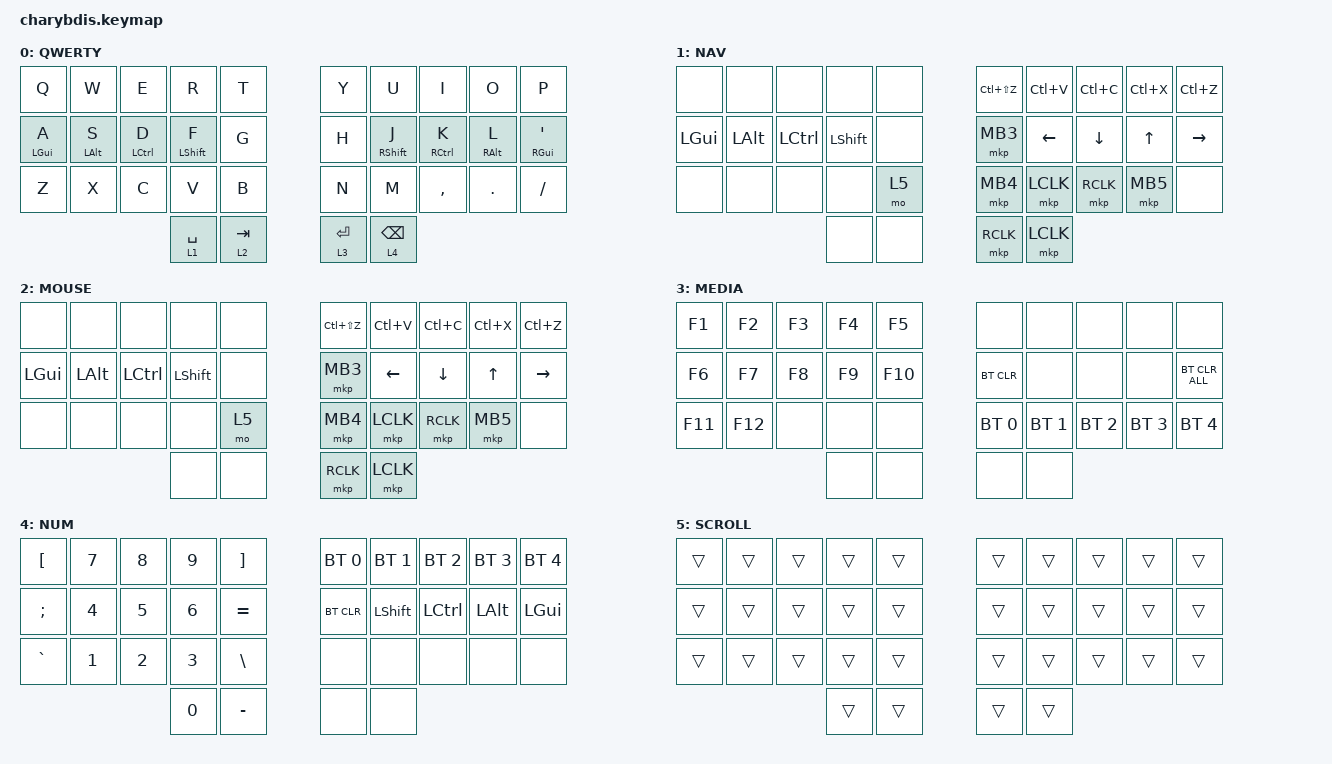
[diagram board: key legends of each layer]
#include <behaviors.dtsi>
#include <dt-bindings/zmk/bt.h>
#include <dt-bindings/zmk/keys.h>
#include <dt-bindings/zmk/mouse.h>
#include <dt-bindings/zmk/outputs.h>

&lt {
    tapping-term-ms = <200>;
    flavor = "tap-preferred";
    quick-tap-ms = <150>;
    require-prior-idle-ms = <50>;
};

&mt {
    tapping-term-ms = <200>;
    flavor = "tap-preferred";
    require-prior-idle-ms = <0>;
};

/ {
    chosen { zmk,matrix_transform = &five_column_transform; };
};

/ {
    combos {
        compatible = "zmk,combos";

        CapsWord {
            bindings = <&caps_word>;
            key-positions = <14 15>;
        };

        SpaceTabEsc {
            bindings = <&kp ESCAPE>;
            key-positions = <32 33>;    // SPACE and TAB keys
            layers = <0>;
        };
    };

    behaviors {
        Shift_Enter: Shift_Enter {
            compatible = "zmk,behavior-hold-tap";
            label = "SHIFT_ENTER";
            bindings = <&kp>, <&kp>;

            #binding-cells = <2>;
            hold-trigger-key-positions = <34>;
            tapping-term-ms = <100>;
        };
    };

    keymap {
        compatible = "zmk,keymap";

     QWERTY {
            bindings = <
  &kp Q           &kp W           &kp E               &kp R             &kp T        &kp Y        &kp U             &kp I               &kp O           &kp P
  &mt LEFT_GUI A  &mt LEFT_ALT S  &mt LEFT_CONTROL D  &mt LEFT_SHIFT F  &kp G        &kp H        &mt RIGHT_SHIFT J  &mt RIGHT_CONTROL K  &mt RIGHT_ALT L  &mt RIGHT_GUI SQT
  &kp Z           &kp X           &kp C               &kp V             &kp B        &kp N        &kp M             &kp COMMA           &kp DOT         &kp SLASH
                                                      &lt 1 SPACE       &lt 2 TAB    &lt 3 ENTER  &lt 4 BACKSPACE
            >;
        };

        NAV {
            bindings = <
  &none         &none         &none             &none           &none    &kp LC(LS(Z))  &kp LC(V)      &kp LC(C)      &kp LC(X)    &kp LC(Z)
  &kp LEFT_GUI  &kp LEFT_ALT  &kp LEFT_CONTROL  &kp LEFT_SHIFT  &none    &mkp MB3       &kp LEFT        &kp DOWN       &kp UP       &kp RIGHT
  &none         &none         &none             &none           &mo 5    &mkp MB4       &mkp LCLK       &mkp RCLK       &mkp MB5      &none
                                                &none           &none    &mkp RCLK      &mkp LCLK
            >;
        };

        MOUSE {
            bindings = <
  &none         &none         &none             &none           &none    &kp LC(LS(Z))  &kp LC(V)       &kp LC(C)       &kp LC(X)     &kp LC(Z)
  &kp LEFT_GUI  &kp LEFT_ALT  &kp LEFT_CONTROL  &kp LEFT_SHIFT  &none    &mkp MB3       &kp LEFT_ARROW  &kp DOWN_ARROW  &kp UP_ARROW  &kp RIGHT_ARROW
  &none         &none         &none             &none           &mo 5    &mkp MB4       &mkp LCLK       &mkp RCLK       &mkp MB5      &none
                                                &none           &none    &mkp RCLK      &mkp LCLK
            >;
        };

        MEDIA {
            bindings = <
  &kp F1        &kp F2        &kp F3            &kp F4          &kp F5   &none         &none         &none         &none         &none
  &kp F6        &kp F7        &kp F8            &kp F9          &kp F10  &bt BT_CLR    &none         &none         &none         &bt BT_CLR_ALL
  &kp F11       &kp F12       &none             &none           &none    &bt BT_SEL 0  &bt BT_SEL 1  &bt BT_SEL 2  &bt BT_SEL 3  &bt BT_SEL 4
                                                &none           &none    &none         &none
            >;
        };

        NUM {
            bindings = <
  &kp LEFT_BRACKET  &kp N7        &kp N8        &kp N9        &kp RIGHT_BRACKET    &bt BT_SEL 0  &bt BT_SEL 1  &bt BT_SEL 2  &bt BT_SEL 3  &bt BT_SEL 4
  &kp SEMICOLON     &kp NUMBER_4  &kp N5        &kp NUMBER_6  &kp EQUAL            &bt BT_CLR  &kp LEFT_SHIFT  &kp LEFT_CONTROL  &kp LEFT_ALT  &kp LEFT_GUI
  &kp GRAVE         &kp NUMBER_1  &kp NUMBER_2  &kp NUMBER_3  &kp BACKSLASH        &none  &none           &none             &none         &none
                                                &kp N0        &kp MINUS            &none  &none
            >;
        };

        SCROLL {
            bindings = <
  &trans  &trans  &trans  &trans  &trans    &trans  &trans  &trans  &trans  &trans
  &trans  &trans  &trans  &trans  &trans    &trans  &trans  &trans  &trans  &trans
  &trans  &trans  &trans  &trans  &trans    &trans  &trans  &trans  &trans  &trans
                          &trans  &trans    &trans  &trans
            >;
        };
    };
};
